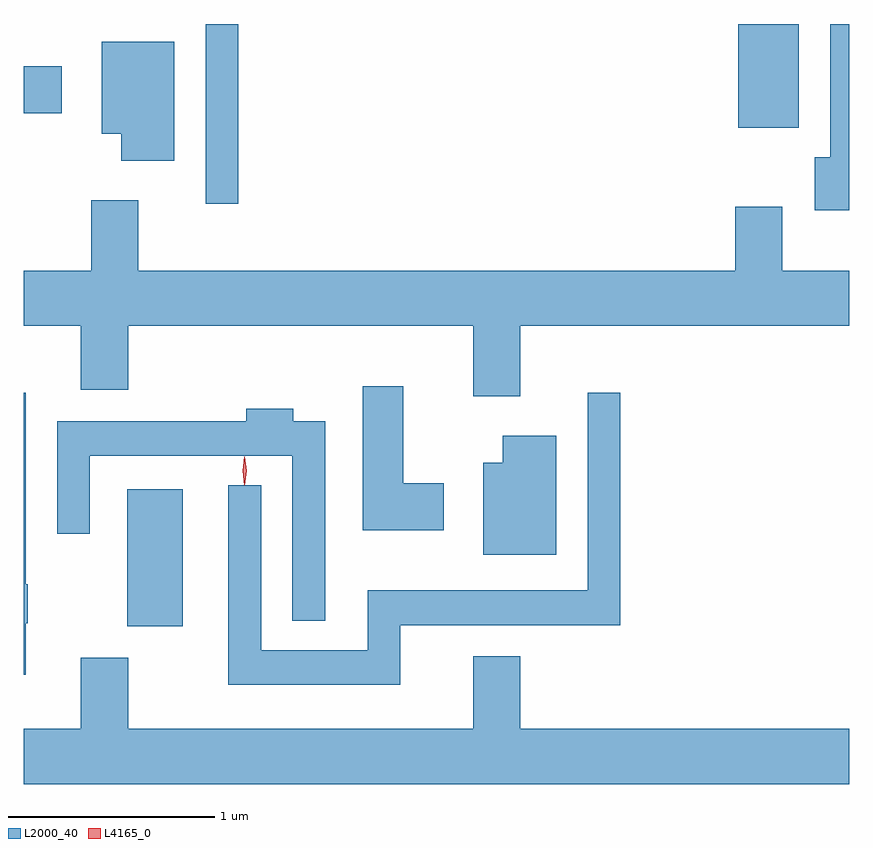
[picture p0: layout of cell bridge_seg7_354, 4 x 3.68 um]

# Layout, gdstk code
import gdstk
lib = gdstk.Library(unit=1e-6, precision=1e-09)
def R(c, l, rs):  # rectangles x0, y0, x1, y1
    for r in rs: c.add(gdstk.rectangle(r[:2], r[2:], *l))
def P(c, l, *ps):  # polygons
    for p in ps: c.add(gdstk.Polygon(p, *l))
L2000_40 = (2000, 40)
L4165_0 = (4165, 0)

bridge_seg7_354 = lib.new_cell('bridge_seg7_354')
R(bridge_seg7_354, L2000_40, [(1196.506,1755.041,1196.774,1755.704), (1196.886,1757.088,1197.044,1757.959), (1199.466,1757.456,1199.759,1757.959), (1196.004,1757.526,1196.189,1757.754)])
P(bridge_seg7_354, L2000_40, [(1200.004,1757.959),(1199.911,1757.959),(1199.911,1757.314),(1199.836,1757.314),(1199.836,1757.056),(1200.004,1757.056)],
  [(1196.734,1757.874),(1196.381,1757.874),(1196.381,1757.426),(1196.476,1757.426),(1196.476,1757.296),(1196.734,1757.296)],
  [(1198.409,1756.496),(1200.004,1756.496),(1200.004,1756.764),(1199.679,1756.764),(1199.679,1757.074),(1199.451,1757.074),(1199.451,1756.764),(1196.559,1756.764),(1196.559,1757.104),(1196.331,1757.104),(1196.331,1756.764),(1196.004,1756.764),(1196.004,1756.496),(1196.281,1756.496),(1196.281,1756.186),(1196.509,1756.186),(1196.509,1756.496),(1198.181,1756.496),(1198.181,1756.156),(1198.409,1756.156)],
  [(1198.039,1755.734),(1197.844,1755.734),(1197.844,1756.204),(1197.646,1756.204),(1197.646,1755.506),(1198.039,1755.506)],
  [(1197.829,1755.046),(1198.894,1755.046),(1198.894,1756.173),(1198.736,1756.173),(1198.736,1755.214),(1197.671,1755.214),(1197.671,1754.924),(1197.154,1754.924),(1197.154,1755.723),(1196.996,1755.723),(1196.996,1754.756),(1197.829,1754.756)],
  [(1196.014,1755.055),(1196.024,1755.055),(1196.024,1755.245),(1196.014,1755.245),(1196.014,1756.173),(1196.004,1756.173),(1196.004,1754.806),(1196.014,1754.806)],
  [(1197.464,1756.034),(1197.309,1756.034),(1197.309,1756.094),(1197.081,1756.094),(1197.081,1756.034),(1196.166,1756.034),(1196.166,1755.488),(1196.324,1755.488),(1196.324,1755.866),(1197.306,1755.866),(1197.306,1755.068),(1197.464,1755.068)],
  [(1198.584,1755.964),(1198.326,1755.964),(1198.326,1755.834),(1198.231,1755.834),(1198.231,1755.386),(1198.584,1755.386)],
  [(1200.004,1754.544),(1198.409,1754.544),(1198.409,1754.894),(1198.181,1754.894),(1198.181,1754.544),(1196.509,1754.544),(1196.509,1754.889),(1196.281,1754.889),(1196.281,1754.544),(1196.004,1754.544),(1196.004,1754.276),(1200.004,1754.276)])
P(bridge_seg7_354, L4165_0, [(1197.073,1755.724),(1197.064,1755.793),(1197.073,1755.862),(1197.074,1755.863),(1197.074,1755.862),(1197.084,1755.793),(1197.074,1755.724),(1197.074,1755.724)],
  [(1197.073,1755.727),(1197.064,1755.794),(1197.073,1755.86),(1197.074,1755.86),(1197.074,1755.86),(1197.084,1755.794),(1197.074,1755.727),(1197.074,1755.727)])

lib.write_gds('bridge_seg7_354.gds')
